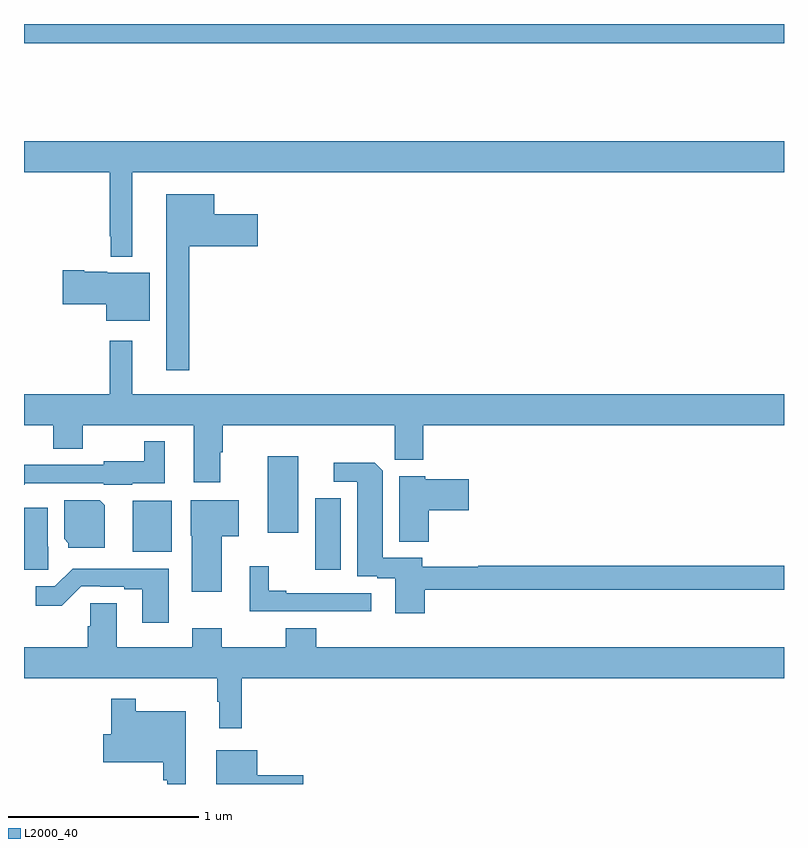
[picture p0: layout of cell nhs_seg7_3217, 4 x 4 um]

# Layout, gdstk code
import gdstk
lib = gdstk.Library(unit=1e-6, precision=1e-09)
def R(c, l, rs):  # rectangles x0, y0, x1, y1
    for r in rs: c.add(gdstk.rectangle(r[:2], r[2:], *l))
def P(c, l, *ps):  # polygons
    for p in ps: c.add(gdstk.Polygon(p, *l))
L2000_40 = (2000, 40)

nhs_seg7_3217 = lib.new_cell('nhs_seg7_3217')
R(nhs_seg7_3217, L2000_40, [(316.532,1061.127,316.666,1061.503), (315.572,1061.222,315.778,1061.492), (316.283,1061.322,316.444,1061.725), (315,1063.9,319,1064)])
P(nhs_seg7_3217, L2000_40, [(315.571,1063.22),(319,1063.22),(319,1063.384),(315,1063.384),(315,1063.22),(315.45,1063.22),(315.45,1062.883),(315.457,1062.883),(315.457,1062.776),(315.571,1062.776)],
  [(315.871,1062.83),(316.231,1062.83),(316.231,1063),(316,1063),(316,1063.105),(315.749,1063.105),(315.749,1062.177),(315.871,1062.177)],
  [(315.661,1062.691),(315.438,1062.691),(315.438,1062.697),(315.316,1062.697),(315.316,1062.704),(315.204,1062.704),(315.204,1062.526),(315.434,1062.526),(315.434,1062.437),(315.661,1062.437)],
  [(316.033,1061.747),(316.046,1061.747),(316.046,1061.888),(316.951,1061.888),(316.951,1061.706),(317.102,1061.706),(317.102,1061.888),(319,1061.888),(319,1062.052),(315.571,1062.052),(315.571,1062.334),(315.45,1062.334),(315.45,1062.052),(315,1062.052),(315,1061.888),(315.154,1061.888),(315.154,1061.764),(315.309,1061.764),(315.309,1061.888),(315.893,1061.888),(315.893,1061.589),(316.033,1061.589)],
  [(315.003,1061.583),(315.42,1061.583),(315.42,1061.576),(315.57,1061.576),(315.57,1061.582),(315.742,1061.582),(315.742,1061.803),(315.633,1061.803),(315.633,1061.698),(315.42,1061.698),(315.42,1061.679),(315.003,1061.679),(315.003,1061.681),(315,1061.681),(315,1061.576),(315.003,1061.576)],
  [(317.108,1061.022),(319,1061.022),(319,1061.15),(317.391,1061.15),(317.391,1061.143),(317.095,1061.143),(317.095,1061.19),(316.888,1061.19),(316.888,1061.648),(316.846,1061.69),(316.629,1061.69),(316.629,1061.592),(316.754,1061.592),(316.754,1061.094),(316.859,1061.094),(316.859,1061.082),(316.955,1061.082),(316.955,1060.899),(317.108,1060.899)],
  [(317.129,1061.44),(317.341,1061.44),(317.341,1061.605),(317.112,1061.605),(317.112,1061.62),(316.976,1061.62),(316.976,1061.275),(317.129,1061.275)],
  [(315.424,1061.468),(315.398,1061.494),(315.212,1061.494),(315.212,1061.29),(315.234,1061.268),(315.234,1061.243),(315.424,1061.243)],
  [(316.042,1061.303),(316.129,1061.303),(316.129,1061.494),(315.878,1061.494),(315.878,1061.307),(315.884,1061.307),(315.884,1061.013),(316.042,1061.013)],
  [(315.128,1061.25),(315.124,1061.25),(315.124,1061.455),(315,1061.455),(315,1061.127),(315.128,1061.127)],
  [(316.828,1061.004),(316.381,1061.004),(316.381,1061.017),(316.287,1061.017),(316.287,1061.146),(316.187,1061.146),(316.187,1060.908),(316.828,1060.908)],
  [(315.763,1061.134),(315.256,1061.134),(315.162,1061.04),(315.063,1061.04),(315.063,1060.938),(315.198,1060.938),(315.3,1061.04),(315.4,1061.04),(315.4,1061.037),(315.527,1061.037),(315.527,1061.025),(315.623,1061.025),(315.623,1060.848),(315.763,1060.848)],
  [(316.145,1060.556),(319,1060.556),(319,1060.72),(316.538,1060.72),(316.538,1060.819),(316.378,1060.819),(316.378,1060.72),(316.041,1060.72),(316.041,1060.819),(315.886,1060.819),(315.886,1060.72),(315.487,1060.72),(315.487,1060.952),(315.348,1060.952),(315.348,1060.83),(315.335,1060.83),(315.335,1060.72),(315,1060.72),(315,1060.556),(316.017,1060.556),(316.017,1060.433),(316.028,1060.433),(316.028,1060.293),(316.145,1060.293)],
  [(315.85,1060.384),(315.589,1060.384),(315.589,1060.45),(315.46,1060.45),(315.46,1060.263),(315.416,1060.263),(315.416,1060.115),(315.733,1060.115),(315.733,1060.019),(315.753,1060.019),(315.753,1060),(315.85,1060)],
  [(316.471,1060.046),(316.228,1060.046),(316.228,1060.177),(316.013,1060.177),(316.013,1060),(316.471,1060)])

lib.write_gds('nhs_seg7_3217.gds')
